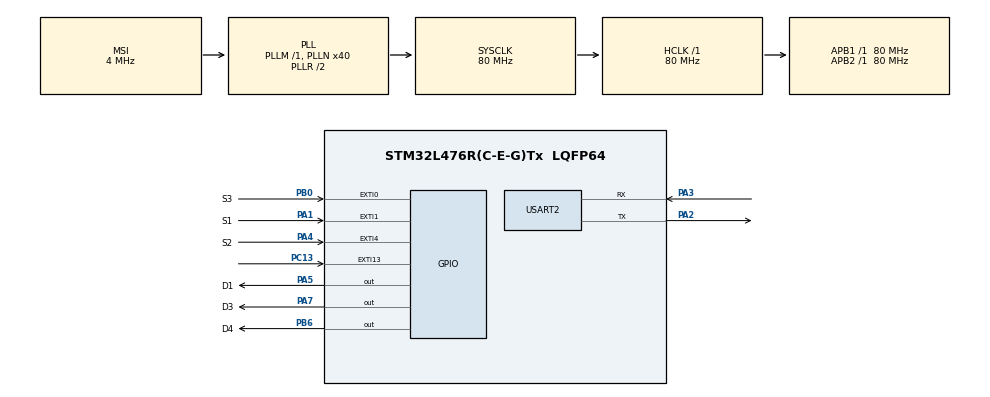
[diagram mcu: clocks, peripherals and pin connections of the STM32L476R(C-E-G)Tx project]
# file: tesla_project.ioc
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Mcu.Family=STM32L4
Mcu.Name=STM32L476R(C-E-G)Tx
Mcu.Package=LQFP64
NVIC.EXTI0_IRQn=true\:0\:0\:false\:false\:true\:true\:true\:true
NVIC.EXTI1_IRQn=true\:0\:0\:false\:false\:true\:true\:true\:true
NVIC.EXTI4_IRQn=true\:0\:0\:false\:false\:true\:true\:true\:true
NVIC.PriorityGroup=NVIC_PRIORITYGROUP_4
PA1.GPIO_Label=S1
PA1.GPIO_ModeDefaultEXTI=GPIO_MODE_IT_FALLING
PA1.Signal=GPXTI1
PA2.Mode=Asynchronous
PA2.Signal=USART2_TX
PA3.Mode=Asynchronous
PA3.Signal=USART2_RX
PA4.GPIO_Label=S2
PA4.Signal=GPXTI4
PA5.GPIO_Label=D1
PA5.PinState=GPIO_PIN_SET
PA5.Signal=GPIO_Output
PA7.GPIO_Label=D3
PA7.PinState=GPIO_PIN_SET
PA7.Signal=GPIO_Output
PB0.GPIO_Label=S3
PB0.Signal=GPXTI0
PB6.GPIO_Label=D4
PB6.Signal=GPIO_Output
PC13.Signal=GPXTI13
ProjectManager.HeapSize=0x200
ProjectManager.StackSize=0x400
ProjectManager.TargetToolchain=STM32CubeIDE
RCC.AHBFreq_Value=80000000
RCC.APB1Freq_Value=80000000
RCC.APB1TimFreq_Value=80000000
RCC.APB2Freq_Value=80000000
RCC.APB2TimFreq_Value=80000000
RCC.CortexFreq_Value=80000000
RCC.HCLKFreq_Value=80000000
RCC.HSE_VALUE=8000000
RCC.HSI_VALUE=16000000
RCC.LSE_VALUE=32768
RCC.MSI_VALUE=4000000
RCC.PLLN=40
RCC.SYSCLKFreq_VALUE=80000000
RCC.SYSCLKSource=RCC_SYSCLKSOURCE_PLLCLK
RCC.VCOOutputFreq_Value=160000000
USART2.VirtualMode-Asynchronous=VM_ASYNC
board=custom

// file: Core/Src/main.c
/* USER CODE BEGIN Header */
/**
  ******************************************************************************
  * @file           : main.c
  * @brief          : Main program body
  ******************************************************************************
  * @attention
  *
  * Copyright (c) 2024 STMicroelectronics.
  * All rights reserved.
  *
  * This software is licensed under terms that can be found in the LICENSE file
  * in the root directory of this software component.
  * If no LICENSE file comes with this software, it is provided AS-IS.
  *
  ******************************************************************************
  */
/* USER CODE END Header */
#include "main.h"

UART_HandleTypeDef huart2;

/* USER CODE BEGIN PV */
uint32_t left_toggles = 0;
uint32_t righ_toggles = 0;
uint32_t park_toggles = 0;
uint32_t left_last_press_tick = 0;
uint32_t righ_last_press_tick = 0;
uint32_t park_last_press_tick = 0;
uint8_t status = 0;
/* USER CODE END PV */

void SystemClock_Config(void);
static void MX_GPIO_Init(void);
static void MX_USART2_UART_Init(void);
/* USER CODE BEGIN PFP */
void heartbeat(void);
void turn_signal_left(void);
void turn_signal_righ(void);
void park_signal(void);
/* USER CODE END PFP */

/* USER CODE BEGIN 0 */

void HAL_GPIO_EXTI_Callback(uint16_t GPIO_Pin)
{
	if (GPIO_Pin == S1_Pin) {
		//s1: letf directional
		status = 1;
		HAL_UART_Transmit(&huart2, "S1\n", 3, 10);
		if (HAL_GetTick() < (left_last_press_tick + 300)) { // if last press was in the last 300ms
			left_toggles = 0xFFFFFF; // a long time toggling (infinite)
		} else {
			left_toggles = 6;
			righ_toggles = 0;
			park_toggles = 0;
		}
		left_last_press_tick = HAL_GetTick();
	}

	if (GPIO_Pin == S3_Pin) {
		//s3: righ directional
		status = 1;
		HAL_UART_Transmit(&huart2, "S3\n", 3, 10);
		if(HAL_GetTick() < righ_last_press_tick + 300 ){
			righ_toggles = 0xFFFFFF; // a long time toggling (infinite)
		}
		else{
			righ_toggles = 6;
			left_toggles = 0;
			park_toggles = 0;
		}
		righ_last_press_tick = HAL_GetTick();

	}

	if (GPIO_Pin == S2_Pin) {
			//s2: park directional
			if(status == 1){
				HAL_GPIO_WritePin(D3_GPIO_Port, D3_Pin, 1);
				HAL_GPIO_WritePin(D4_GPIO_Port, D4_Pin, 1);
				status = 0;
			}
			HAL_UART_Transmit(&huart2, "S2\r\n", 4, 10);
			if(HAL_GetTick() < park_last_press_tick + 300 ){
				park_toggles = 0xFFFFFF; // a long time toggling (infinite)
			}
			else{
				park_toggles = 6;
				left_toggles = 0;
				righ_toggles = 0;
			}
			park_last_press_tick = HAL_GetTick();

		}

}

void heartbeat(void)
{
	static uint32_t heartbeat_tick = 0;
	if(heartbeat_tick < HAL_GetTick()){
		heartbeat_tick = HAL_GetTick() + 1000;
		HAL_GPIO_TogglePin(D1_GPIO_Port, D1_Pin);
	}

}

//direccional izquierda

void turn_signal_left(void)
{
	static uint32_t turn_toggle_tick = 0;
	if (turn_toggle_tick < HAL_GetTick()) {
		if (left_toggles > 0) {
			turn_toggle_tick = HAL_GetTick() + 500;
			HAL_GPIO_TogglePin(D3_GPIO_Port, D3_Pin);
			left_toggles--;
		}else {
			HAL_GPIO_WritePin(D3_GPIO_Port, D3_Pin, 1);
		}

	}
}

void turn_signal_righ(void)
{
	static uint32_t turn_toggle_tick2 = 0;
	if (turn_toggle_tick2 < HAL_GetTick()) {
		if (righ_toggles > 0) {
			turn_toggle_tick2 = HAL_GetTick() + 500;
			HAL_GPIO_TogglePin(D4_GPIO_Port, D4_Pin);
			righ_toggles--;
		}else {
			HAL_GPIO_WritePin(D4_GPIO_Port, D4_Pin, 1);
		}

	}
}

void park_signal(void)
{

	static uint32_t turn_toggle_tick3 = 0;
	if (turn_toggle_tick3 < HAL_GetTick()) {
		if (park_toggles > 0) {
			turn_toggle_tick3 = HAL_GetTick() + 500;
			HAL_GPIO_TogglePin(D4_GPIO_Port, D4_Pin);
			HAL_GPIO_TogglePin(D3_GPIO_Port, D3_Pin);
			park_toggles--;
		}else{
			HAL_GPIO_WritePin(D4_GPIO_Port, D4_Pin, 1);
			HAL_GPIO_WritePin(D3_GPIO_Port, D3_Pin, 1);
		}

	}

}

/* USER CODE END 0 */

int main(void)
{

  /* MCU Configuration--------------------------------------------------------*/

  /* Reset of all peripherals, Initializes the Flash interface and the Systick. */
  HAL_Init();

  /* Configure the system clock */
  SystemClock_Config();

  /* Initialize all configured peripherals */
  MX_GPIO_Init();
  MX_USART2_UART_Init();

  /* Infinite loop */
  while (1)
  {

    /* USER CODE BEGIN 3 */
	  heartbeat();
	  if(park_toggles != 0){
		  park_signal();
	  }else{
		  turn_signal_left();
		  turn_signal_righ();
	  }

  }
  /* USER CODE END 3 */
}

void SystemClock_Config(void)
{
  RCC_OscInitTypeDef RCC_OscInitStruct = {0};
  RCC_ClkInitTypeDef RCC_ClkInitStruct = {0};

  /** Configure the main internal regulator output voltage
  */
  if (HAL_PWREx_ControlVoltageScaling(PWR_REGULATOR_VOLTAGE_SCALE1) != HAL_OK)
  {
    Error_Handler();
  }

  /** Initializes the RCC Oscillators according to the specified parameters
  * in the RCC_OscInitTypeDef structure.
  */
  RCC_OscInitStruct.OscillatorType = RCC_OSCILLATORTYPE_MSI;
  RCC_OscInitStruct.MSIState = RCC_MSI_ON;
  RCC_OscInitStruct.MSICalibrationValue = 0;
  RCC_OscInitStruct.MSIClockRange = RCC_MSIRANGE_6;
  RCC_OscInitStruct.PLL.PLLState = RCC_PLL_ON;
  RCC_OscInitStruct.PLL.PLLSource = RCC_PLLSOURCE_MSI;
  RCC_OscInitStruct.PLL.PLLM = 1;
  RCC_OscInitStruct.PLL.PLLN = 40;
  RCC_OscInitStruct.PLL.PLLP = RCC_PLLP_DIV7;
  RCC_OscInitStruct.PLL.PLLQ = RCC_PLLQ_DIV2;
  RCC_OscInitStruct.PLL.PLLR = RCC_PLLR_DIV2;
  if (HAL_RCC_OscConfig(&RCC_OscInitStruct) != HAL_OK)
  {
    Error_Handler();
  }

  /** Initializes the CPU, AHB and APB buses clocks
  */
  RCC_ClkInitStruct.ClockType = RCC_CLOCKTYPE_HCLK|RCC_CLOCKTYPE_SYSCLK
                              |RCC_CLOCKTYPE_PCLK1|RCC_CLOCKTYPE_PCLK2;
  RCC_ClkInitStruct.SYSCLKSource = RCC_SYSCLKSOURCE_PLLCLK;
  RCC_ClkInitStruct.AHBCLKDivider = RCC_SYSCLK_DIV1;
  RCC_ClkInitStruct.APB1CLKDivider = RCC_HCLK_DIV1;
  RCC_ClkInitStruct.APB2CLKDivider = RCC_HCLK_DIV1;

  if (HAL_RCC_ClockConfig(&RCC_ClkInitStruct, FLASH_LATENCY_4) != HAL_OK)
  {
    Error_Handler();
  }
}

static void MX_USART2_UART_Init(void)
{

  huart2.Instance = USART2;
  huart2.Init.BaudRate = 115200;
  huart2.Init.WordLength = UART_WORDLENGTH_8B;
  huart2.Init.StopBits = UART_STOPBITS_1;
  huart2.Init.Parity = UART_PARITY_NONE;
  huart2.Init.Mode = UART_MODE_TX_RX;
  huart2.Init.HwFlowCtl = UART_HWCONTROL_NONE;
  huart2.Init.OverSampling = UART_OVERSAMPLING_16;
  huart2.Init.OneBitSampling = UART_ONE_BIT_SAMPLE_DISABLE;
  huart2.AdvancedInit.AdvFeatureInit = UART_ADVFEATURE_NO_INIT;
  if (HAL_UART_Init(&huart2) != HAL_OK)
  {
    Error_Handler();
  }

}

static void MX_GPIO_Init(void)
{
  GPIO_InitTypeDef GPIO_InitStruct = {0};

  /* GPIO Ports Clock Enable */
  __HAL_RCC_GPIOC_CLK_ENABLE();
  __HAL_RCC_GPIOA_CLK_ENABLE();
  __HAL_RCC_GPIOB_CLK_ENABLE();

  /*Configure GPIO pin Output Level */
  HAL_GPIO_WritePin(GPIOA, D1_Pin|D3_Pin, GPIO_PIN_SET);

  /*Configure GPIO pin Output Level */
  HAL_GPIO_WritePin(D4_GPIO_Port, D4_Pin, GPIO_PIN_RESET);

  /*Configure GPIO pin : PC13 */
  GPIO_InitStruct.Pin = GPIO_PIN_13;
  GPIO_InitStruct.Mode = GPIO_MODE_IT_RISING;
  GPIO_InitStruct.Pull = GPIO_NOPULL;
  HAL_GPIO_Init(GPIOC, &GPIO_InitStruct);

  /*Configure GPIO pin : S1_Pin */
  GPIO_InitStruct.Pin = S1_Pin;
  GPIO_InitStruct.Mode = GPIO_MODE_IT_FALLING;
  GPIO_InitStruct.Pull = GPIO_NOPULL;
  HAL_GPIO_Init(S1_GPIO_Port, &GPIO_InitStruct);

  /*Configure GPIO pin : S2_Pin */
  GPIO_InitStruct.Pin = S2_Pin;
  GPIO_InitStruct.Mode = GPIO_MODE_IT_RISING;
  GPIO_InitStruct.Pull = GPIO_NOPULL;
  HAL_GPIO_Init(S2_GPIO_Port, &GPIO_InitStruct);

  /*Configure GPIO pins : D1_Pin D3_Pin */
  GPIO_InitStruct.Pin = D1_Pin|D3_Pin;
  GPIO_InitStruct.Mode = GPIO_MODE_OUTPUT_PP;
  GPIO_InitStruct.Pull = GPIO_NOPULL;
  GPIO_InitStruct.Speed = GPIO_SPEED_FREQ_LOW;
  HAL_GPIO_Init(GPIOA, &GPIO_InitStruct);

  /*Configure GPIO pin : S3_Pin */
  GPIO_InitStruct.Pin = S3_Pin;
  GPIO_InitStruct.Mode = GPIO_MODE_IT_RISING;
  GPIO_InitStruct.Pull = GPIO_NOPULL;
  HAL_GPIO_Init(S3_GPIO_Port, &GPIO_InitStruct);

  /*Configure GPIO pin : D4_Pin */
  GPIO_InitStruct.Pin = D4_Pin;
  GPIO_InitStruct.Mode = GPIO_MODE_OUTPUT_PP;
  GPIO_InitStruct.Pull = GPIO_NOPULL;
  GPIO_InitStruct.Speed = GPIO_SPEED_FREQ_LOW;
  HAL_GPIO_Init(D4_GPIO_Port, &GPIO_InitStruct);

  /* EXTI interrupt init*/
  HAL_NVIC_SetPriority(EXTI0_IRQn, 0, 0);
  HAL_NVIC_EnableIRQ(EXTI0_IRQn);

  HAL_NVIC_SetPriority(EXTI1_IRQn, 0, 0);
  HAL_NVIC_EnableIRQ(EXTI1_IRQn);

  HAL_NVIC_SetPriority(EXTI4_IRQn, 0, 0);
  HAL_NVIC_EnableIRQ(EXTI4_IRQn);

}

void Error_Handler(void)
{
  __disable_irq();
  while (1)
  {
  }
}
